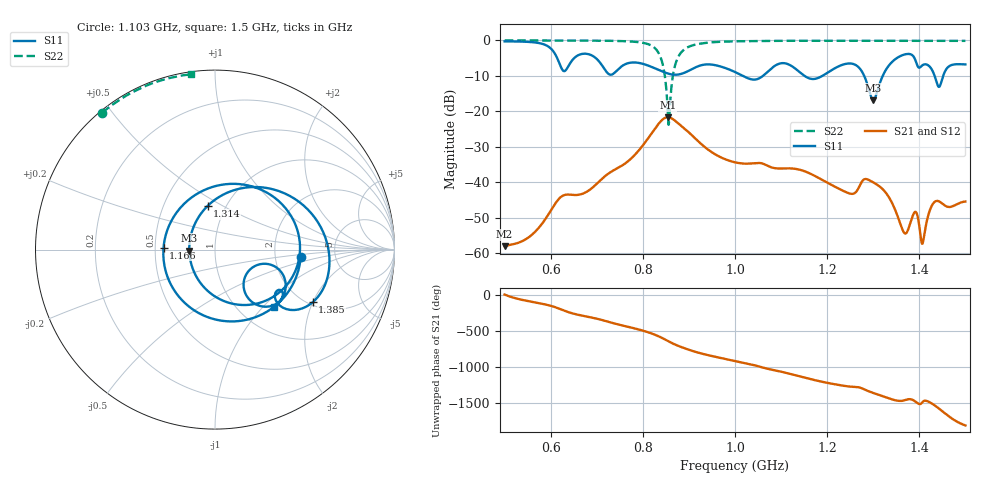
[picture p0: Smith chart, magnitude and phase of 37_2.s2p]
! TOUCHSTONE file generated by CST MICROWAVE STUDIO
! Date and time: Thu Feb 18 07:37:25 2021
! Project name: Scenario_1_Planar_Body_Tissue_Out_of_Line.cst
! Parameters = {L_HA=400; Ltissue=1000; MT=2.54; Rad_Dielectric=30; Rad_Lower=7.3; Rad_Upper=30; Wtissue=1000; a_HA=580; a_WG=246; b_HA=500; b_WG=121; c_HA=0; c_WG=187; d_feed=85; dx1=346; dy1=276.8; h_feed=15; h_lower=18; h_upper=40; hfat=3; hgap=25; hmuscle=50; hskin=1.5}
! Header version: 2018
! Port assignment regex: !\s*Touchstone port\s*([0-9]+)\s*=\s*(CST MWS port|CST DS port)\s*([0-9]+|Zmin|Zmax)\s*\(\"(.*)\"\)(\s*mode\s*([0-9]+))?.*
! Touchstone port assignment:
! Touchstone port 1 = CST MWS port 1 ("")
! Touchstone port 2 = CST MWS port 2 ("")
# GHz S DB R 50
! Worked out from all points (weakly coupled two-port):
!   1003 points, 500 MHz to 1.5 GHz, reference 50 ohm
!   highest |S21| = -21.64 dB at 854 MHz (marker M1); lowest = -58.0 dB at 500 MHz (marker M2)
!   lowest |S11| = -16.9 dB at 1.3 GHz (marker M3), VSWR 1.33, Z = 37.5 - j0.393 ohm
!   |S11| at or under -10 dB: 1.017 GHz to 1.061 GHz (43.43 MHz wide, 4.18 % of centre); 1.151 GHz to 1.189 GHz (38.25 MHz wide, 3.27 % of centre); 1.28 GHz to 1.321 GHz (40.13 MHz wide, 3.09 % of centre) (the widest 3 of 4)
!   |S22| runs from -23.8 to 0.0 dB; largest |S21 - S12| = 5.3e-06
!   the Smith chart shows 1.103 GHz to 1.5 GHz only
!   S11 on the Smith chart (normalised r, x): 1.103 GHz: 2.80, -0.31; 1.166 GHz: 0.55, +0.01; 1.314 GHz: 0.82, +0.42; 1.385 GHz: 2.10, -1.99; 1.5 GHz: 1.42, -1.16
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0.5  -0.26 -121.7  -57.96 8.0  -57.96 8.0  -0.01 151.1
0.667  -3.83 158.2  -43.28 76.6  -43.28 76.6  -0.04 138.3
0.696  -4.78 101.7  -40.86 38.4  -40.86 38.4  -0.06 135.3
0.718  -8.29 25.2  -38.22 2.4  -38.22 2.4  -0.09 132.5
0.742  -8.69 -96.6  -36.21 -40.2  -36.21 -40.2  -0.15 128.8
0.771  -6.32 175.4  -33.69 -85.4  -33.69 -85.4  -0.28 122.7
0.834  -8.30 38.7  -23.51 148.3  -23.51 148.3  -3.49 81.0
0.854  -9.31 -12.0  -21.64 83.3  -21.64 83.3  -19.71 7.7
0.908  -7.99 -177.4  -26.90 -56.5  -26.90 -56.5  -1.39 162.4
0.939  -6.75 85.6  -30.51 -110.5  -30.51 -110.5  -0.66 151.4
1  -8.90 -63.3  -34.34 165.1  -34.34 165.1  -0.26 140.0
1.049  -10.87 163.5  -34.51 94.2  -34.51 94.2  -0.18 134.4
1.103  -6.39 -5.2  -36.06 11.5  -36.06 11.5  -0.11 129.4
1.13  -7.85 -80.5  -36.16 -31.8  -36.16 -31.7  -0.10 127.1
1.166  -10.84 177.7  -37.69 -90.9  -37.69 -90.9  -0.10 124.2
1.167  -10.86 174.9  -37.76 -92.5  -37.76 -92.5  -0.10 124.1
1.248  -6.49 4.9  -43.09 169.7  -43.09 169.7  -0.09 118.0
1.3  -16.87 -177.9  -39.98 80.6  -39.98 80.6  -0.08 114.1
1.314  -12.17 99.7  -41.16 49.4  -41.16 49.4  -0.08 113.0
1.334  -7.05 50.9  -44.17 4.3  -44.17 4.3  -0.08 111.5
1.385  -4.18 -28.4  -49.66 -14.6  -49.66 -14.6  -0.09 107.5
1.5  -6.76 -44.4  -45.37 -11.3  -45.37 -11.3  -0.13 97.9
